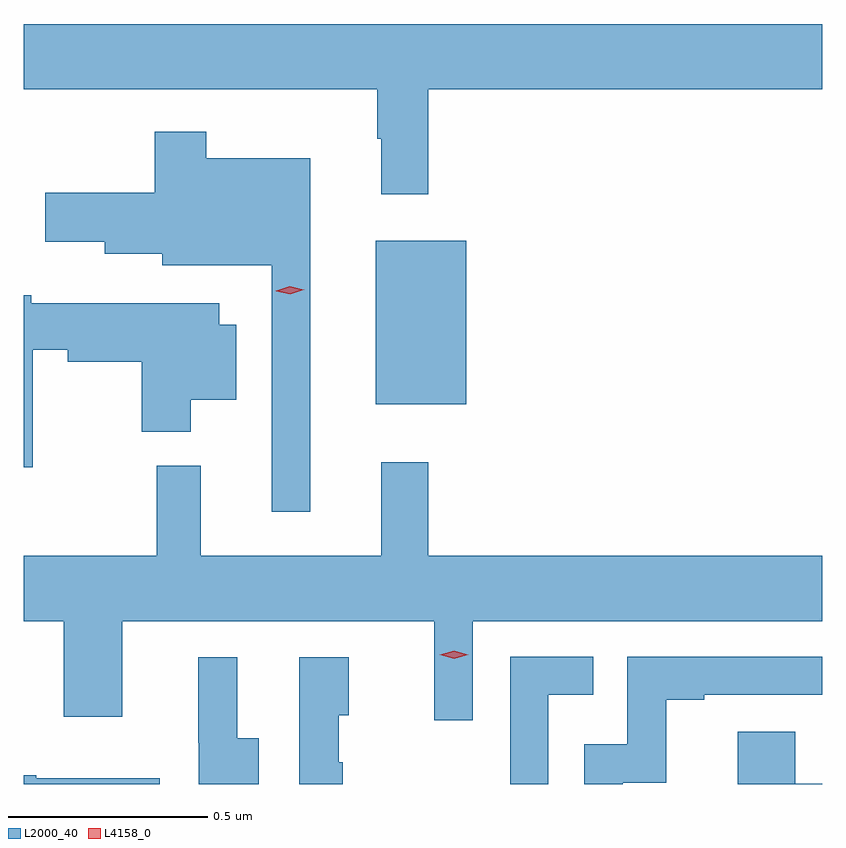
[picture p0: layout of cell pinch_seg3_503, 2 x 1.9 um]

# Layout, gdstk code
import gdstk
lib = gdstk.Library(unit=1e-6, precision=1e-09)
def R(c, l, rs):  # rectangles x0, y0, x1, y1
    for r in rs: c.add(gdstk.rectangle(r[:2], r[2:], *l))
def P(c, l, *ps):  # polygons
    for p in ps: c.add(gdstk.Polygon(p, *l))
L2000_40 = (2000, 40)
L4158_0 = (4158, 0)

pinch_seg3_503 = lib.new_cell('pinch_seg3_503')
R(pinch_seg3_503, L2000_40, [(1000.217,676.151,1000.444,676.561)])
P(pinch_seg3_503, L2000_40, [(999.336,676.94),(1000.221,676.94),(1000.221,676.817),(1000.232,676.817),(1000.232,676.677),(1000.349,676.677),(1000.349,676.94),(1001.336,676.94),(1001.336,677.104),(999.336,677.104)],
  [(1000.054,676.768),(999.793,676.768),(999.793,676.834),(999.664,676.834),(999.664,676.681),(999.39,676.681),(999.39,676.559),(999.539,676.559),(999.539,676.529),(999.683,676.529),(999.683,676.499),(999.957,676.499),(999.957,675.882),(1000.054,675.882)],
  [(999.358,676.288),(999.446,676.288),(999.446,676.258),(999.632,676.258),(999.632,676.082),(999.754,676.082),(999.754,676.163),(999.868,676.163),(999.868,676.351),(999.826,676.351),(999.826,676.404),(999.354,676.404),(999.354,676.424),(999.336,676.424),(999.336,675.993),(999.358,675.993)],
  [(1000.461,675.608),(1001.336,675.608),(1001.336,675.772),(1000.349,675.772),(1000.349,676.006),(1000.232,676.006),(1000.232,675.772),(999.779,675.772),(999.779,675.997),(999.669,675.997),(999.669,675.772),(999.336,675.772),(999.336,675.608),(999.436,675.608),(999.436,675.369),(999.583,675.369),(999.583,675.608),(1000.364,675.608),(1000.364,675.36),(1000.461,675.36)],
  [(1000.65,675.423),(1000.763,675.423),(1000.763,675.519),(1000.554,675.519),(1000.554,675.2),(1000.65,675.2)],
  [(1000.836,675.203),(1000.946,675.203),(1000.946,675.411),(1001.041,675.411),(1001.041,675.423),(1001.336,675.423),(1001.336,675.519),(1000.848,675.519),(1000.848,675.3),(1000.74,675.3),(1000.74,675.2),(1000.836,675.2)],
  [(999.925,675.315),(999.871,675.315),(999.871,675.517),(999.773,675.517),(999.773,675.303),(999.774,675.303),(999.774,675.2),(999.925,675.2)],
  [(1000.135,675.254),(1000.125,675.254),(1000.125,675.372),(1000.15,675.372),(1000.15,675.517),(1000.026,675.517),(1000.026,675.2),(1000.135,675.2)],
  [(1001.336,675.201),(1001.269,675.201),(1001.269,675.331),(1001.125,675.331),(1001.125,675.2),(1001.336,675.2)],
  [(999.677,675.214),(999.367,675.214),(999.367,675.222),(999.336,675.222),(999.336,675.2),(999.677,675.2)])
P(pinch_seg3_503, L4158_0, [(1000.414,675.514),(1000.378,675.524),(1000.378,675.524),(1000.378,675.524),(1000.414,675.534),(1000.449,675.524),(1000.449,675.524),(1000.449,675.524)],
  [(1000.003,676.427),(999.968,676.435),(999.967,676.436),(999.968,676.436),(1000.002,676.447),(1000.037,676.438),(1000.038,676.438),(1000.037,676.438)])

lib.write_gds('pinch_seg3_503.gds')
